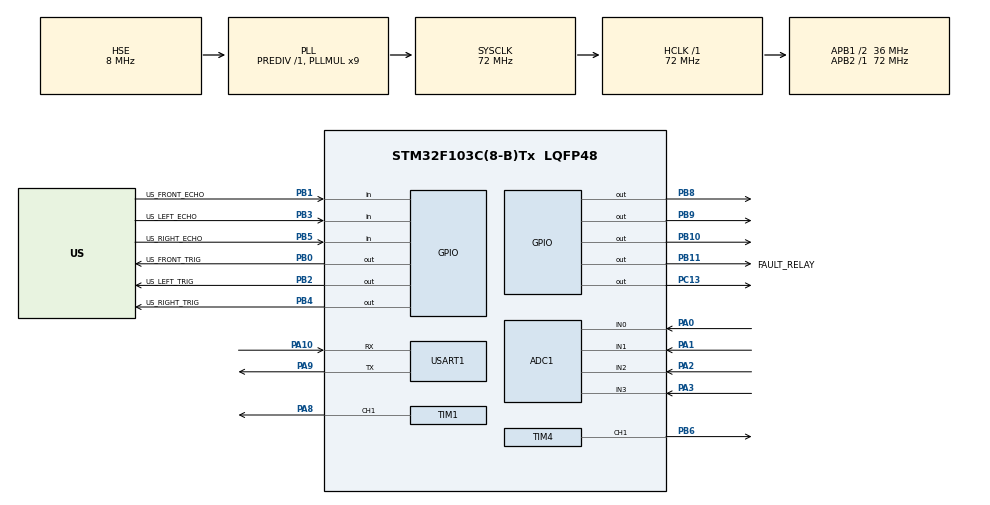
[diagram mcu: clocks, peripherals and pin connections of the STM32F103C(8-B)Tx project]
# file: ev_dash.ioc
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ADC1.Channel-0\#ChannelRegularConversion=ADC_CHANNEL_0
ADC1.ContinuousConvMode=DISABLE
ADC1.NbrOfConversion=1
ADC1.NbrOfConversionFlag=1
ADC1.Rank-0\#ChannelRegularConversion=1
ADC1.SamplingTime-0\#ChannelRegularConversion=ADC_SAMPLETIME_1CYCLE_5
ADC1.master=1
IWDG.Prescaler=IWDG_PRESCALER_32
IWDG.Reload=1250
Mcu.Family=STM32F1
Mcu.Name=STM32F103C(8-B)Tx
Mcu.Package=LQFP48
NVIC.PriorityGroup=NVIC_PRIORITYGROUP_4
NVIC.TIM1_UP_IRQn=true\:0\:0\:false\:false\:true\:true\:true\:true
NVIC.TIM3_IRQn=true\:0\:0\:false\:false\:true\:true\:true\:true
NVIC.USART1_IRQn=true\:0\:0\:false\:false\:true\:true\:true\:true
PA0-WKUP.Signal=ADCx_IN0
PA1.Signal=ADCx_IN1
PA10.Mode=Asynchronous
PA10.Signal=USART1_RX
PA13.Mode=Serial_Wire
PA13.Signal=SYS_JTMS-SWDIO
PA14.Mode=Serial_Wire
PA14.Signal=SYS_JTCK-SWCLK
PA2.Signal=ADCx_IN2
PA3.Signal=ADCx_IN3
PA8.Signal=S_TIM1_CH1
PA9.Mode=Asynchronous
PA9.Signal=USART1_TX
PB0.GPIO_Label=US_FRONT_TRIG
PB0.Signal=GPIO_Output
PB1.GPIO_Label=US_FRONT_ECHO
PB1.Signal=GPIO_Input
PB10.Signal=GPIO_Output
PB11.GPIO_Label=FAULT_RELAY 
PB11.Signal=GPIO_Output
PB2.GPIO_Label=US_LEFT_TRIG
PB2.Signal=GPIO_Output
PB3.GPIO_Label=US_LEFT_ECHO
PB3.Signal=GPIO_Input
PB4.GPIO_Label=US_RIGHT_TRIG
PB4.Signal=GPIO_Output
PB5.GPIO_Label=US_RIGHT_ECHO
PB5.Signal=GPIO_Input
PB6.Signal=S_TIM4_CH1
PB8.Signal=GPIO_Output
PB9.Signal=GPIO_Output
PC13-TAMPER-RTC.Signal=GPIO_Output
PD0-OSC_IN.Mode=HSE-External-Oscillator
PD0-OSC_IN.Signal=RCC_OSC_IN
PD1-OSC_OUT.Mode=HSE-External-Oscillator
PD1-OSC_OUT.Signal=RCC_OSC_OUT
ProjectManager.HeapSize=0x200
ProjectManager.StackSize=0x400
ProjectManager.TargetToolchain=STM32CubeIDE
RCC.ADCPresc=RCC_ADCPCLK2_DIV6
RCC.AHBFreq_Value=72000000
RCC.APB1CLKDivider=RCC_HCLK_DIV2
RCC.APB1Freq_Value=36000000
RCC.APB1TimFreq_Value=72000000
RCC.APB2Freq_Value=72000000
RCC.APB2TimFreq_Value=72000000
RCC.HCLKFreq_Value=72000000
RCC.PLLMUL=RCC_PLL_MUL9
RCC.PLLSourceVirtual=RCC_PLLSOURCE_HSE
RCC.SYSCLKFreq_VALUE=72000000
RCC.SYSCLKSource=RCC_SYSCLKSOURCE_PLLCLK
RCC.USBFreq_Value=72000000
SH.ADCx_IN0.0=ADC1_IN0,IN0
SH.ADCx_IN1.0=ADC1_IN1,IN1
SH.ADCx_IN2.0=ADC1_IN2,IN2
SH.ADCx_IN3.0=ADC1_IN3,IN3
SH.S_TIM1_CH1.0=TIM1_CH1,PWM Generation1 CH1
SH.S_TIM4_CH1.0=TIM4_CH1,PWM Generation1 CH1
TIM1.Channel-PWM\ Generation1\ CH1=TIM_CHANNEL_1
TIM1.Period=9999
TIM1.Prescaler=71
TIM2.Prescaler=71
TIM3.Period=999
TIM3.Prescaler=7199
TIM4.Channel-PWM\ Generation1\ CH1=TIM_CHANNEL_1
USART1.VirtualMode=VM_ASYNC
VP_IWDG_VS_IWDG.Mode=IWDG_Activate
VP_TIM1_VS_ClockSourceINT.Mode=Internal
VP_TIM2_VS_ClockSourceINT.Mode=Internal
VP_TIM3_VS_ClockSourceINT.Mode=Internal
VP_TIM4_VS_ClockSourceINT.Mode=Internal
board=custom

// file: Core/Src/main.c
/* USER CODE BEGIN Header */
/**
  ******************************************************************************
  * @file           : main.c
  * @brief          : Main program body
  ******************************************************************************
  * @attention
  *
  * Copyright (c) 2026 STMicroelectronics.
  * All rights reserved.
  *
  * This software is licensed under terms that can be found in the LICENSE file
  * in the root directory of this software component.
  * If no LICENSE file comes with this software, it is provided AS-IS.
  *
  ******************************************************************************
  */
/* USER CODE END Header */
#include "main.h"

/* USER CODE BEGIN Includes */
#include <stdio.h>
#include <string.h>
#include "common.h"
#include "ev_control.h"
#include "adas.h"
#include "fault.h"
#include "buzzer.h"
#include "ultrasonic.h"
#include "uart_shell.h"
/* telemetry.h intentionally NOT included here anymore — see note in the
   100ms tick block below for why the binary CRC16 protocol was removed
   from main.c's send loop. telemetry.c/h are left in the project untouched
   in case a binary stream is wanted again later (e.g. once the Python
   dashboard is built and you switch off the ASCII protocol). */
/* USER CODE END Includes */

ADC_HandleTypeDef hadc1;

IWDG_HandleTypeDef hiwdg;

TIM_HandleTypeDef htim1;
TIM_HandleTypeDef htim2;
TIM_HandleTypeDef htim3;
TIM_HandleTypeDef htim4;

UART_HandleTypeDef huart1;

/* USER CODE BEGIN PV */

/* ── Module instances ─────────────────────────────────────────────────── */
static EV_HandleTypeDef    ev;
static ADAS_HandleTypeDef  adas;
static Fault_HandleTypeDef flt;

/* ── Scheduler flags — set in HAL_TIM_PeriodElapsedCallback (TIM3, 100ms) */
static volatile uint8_t flag_100ms = 0;

/* ── Tick counters for sub-dividing the 100ms base tick ──────────────── */
static uint32_t uptime_ms   = 0;   /* free-running uptime, incremented every 100ms tick by 100 */
static uint8_t  div_ultrasonic = 0;/* ultrasonic read is slow (3 * ~30ms worst case) — every 2 ticks (200ms) */
static uint8_t  div_telemetry  = 0;/* ASCII telemetry send — every 10 ticks (1000ms / 1Hz) */

/* ── USART1 RX single-byte interrupt buffer ──────────────────────────── */
static uint8_t uart_rx_byte;

/* USER CODE END PV */

void SystemClock_Config(void);
static void MX_GPIO_Init(void);
static void MX_ADC1_Init(void);
static void MX_USART1_UART_Init(void);
static void MX_TIM1_Init(void);
static void MX_TIM3_Init(void);
static void MX_TIM2_Init(void);
static void MX_TIM4_Init(void);
static void MX_IWDG_Init(void);

/* USER CODE BEGIN 0 */

/**
  * @brief  TIM period-elapsed callback — shared by all TIMs using HAL_TIM_Base_Start_IT.
  *         Only TIM3 (100ms base tick) is started this way, so no need to check
  *         which timer fired, but we check anyway in case TIM1 (PWM) interrupt
  *         is ever started here too, to avoid silently misfiring our flag.
  */
void HAL_TIM_PeriodElapsedCallback(TIM_HandleTypeDef *htim)
{
    if (htim->Instance == TIM3) {
        flag_100ms = 1;
    }
}

/**
  * @brief  USART1 RX-complete callback — fires once per received byte since
  *         we re-arm HAL_UART_Receive_IT(huart1, &uart_rx_byte, 1) each time.
  *         Feeds the shell's ring buffer; Shell_Process() (called from the
  *         main loop) parses completed lines.
  */
void HAL_UART_RxCpltCallback(UART_HandleTypeDef *huart)
{
    if (huart->Instance == USART1) {
        Shell_PushByte(uart_rx_byte);
        HAL_UART_Receive_IT(&huart1, &uart_rx_byte, 1);   /* re-arm for next byte */
    }
}

/* USER CODE END 0 */

int main(void)
{

  /* MCU Configuration--------------------------------------------------------*/

  /* Reset of all peripherals, Initializes the Flash interface and the Systick. */
  HAL_Init();

  /* Configure the system clock */
  SystemClock_Config();

  /* Initialize all configured peripherals */
  MX_GPIO_Init();
  MX_ADC1_Init();
  MX_USART1_UART_Init();
  MX_TIM1_Init();
  MX_TIM3_Init();
  MX_TIM2_Init();
  MX_TIM4_Init();
  /* MX_IWDG_Init() intentionally NOT called here — CubeMX auto-generates
     this call in the standard peripheral init sequence, but we want the
     watchdog armed AFTER module init (EV/ADAS/Shell/sensors), not before.
     See the real call in USER CODE 2, right before the main loop.
     NOTE: regenerating code via CubeMX will re-insert a call here — if
     that happens, delete it again and keep only the one in USER CODE 2. */
  /* USER CODE BEGIN 2 */

  /* ── Module init ──────────────────────────────────────────────────── */
  EV_Init(&ev);
  ADAS_Init(&adas);
  Fault_Init(&flt);
  Buzzer_Init();
  HCSR04_Init();
  Shell_Init(&huart1, &ev, &adas, &flt);

  /* ── Start free-running timers ────────────────────────────────────── */
  HAL_TIM_Base_Start(&htim2);          /* µs tick for ultrasonic timing, no IRQ needed */
  HAL_TIM_Base_Start_IT(&htim3);       /* 100ms scheduler tick -> flag_100ms           */
  HAL_TIM_PWM_Start(&htim1, TIM_CHANNEL_1);  /* motor PWM output                       */
  /* NOTE: TIM4 PWM (buzzer) is started/stopped on demand by buzzer.c itself,
     not unconditionally here — see Buzzer_SetPattern()/pwm_on()/pwm_off(). */

  /* ── Arm USART1 RX interrupt (shell input) ────────────────────────── */
  HAL_UART_Receive_IT(&huart1, &uart_rx_byte, 1);

  /* ── Start the independent watchdog LAST, right before the main loop.
   *    All init above is fast (<<1s total), so starting it here avoids
   *    any risk of tripping mid-boot. From this point on, the main loop
   *    must call HAL_IWDG_Refresh() at least once every ~1s or the MCU
   *    will reset (see MX_IWDG_Init() for the exact timeout). ─────── */
  MX_IWDG_Init();

  /* USER CODE END 2 */

  /* Infinite loop */
  /* USER CODE BEGIN WHILE */
  while (1)
  {
      /* ── Watchdog refresh — must happen at least once per ~1s or the
       *    MCU resets. Placed first so it's reached on every pass,
       *    including the many fast passes between 100ms ticks. The one
       *    place in this codebase that blocks longer than 1s in a single
       *    call — uart_shell.c's "alarm test" command (~6s total via
       *    HAL_Delay) — refreshes the watchdog itself between delays,
       *    since it doesn't return here until it's done. ─────────── */
      HAL_IWDG_Refresh(&hiwdg);

      /* ── Shell command processing — every loop pass, cheap & non-blocking */
      Shell_Process();

      /* ── Buzzer pattern toggling — must be ticked regularly for
       *    DOUBLE/RAPID patterns to actually beep on/off. Called every
       *    loop pass; buzzer.c's own internal ms accumulator assumes a
       *    ~10ms-ish cadence (see buzzer.h comment) — Shell_Process() +
       *    the rest of this loop body keep us in roughly that range. */
      Buzzer_Tick();

      /* ── 100ms scheduler tick (set by TIM3 ISR) ───────────────────── */
      if (flag_100ms) {
          flag_100ms = 0;
          uptime_ms += 100;

          /* -- EV physics + ADAS + fault check, every 100ms -- */
          EV_ReadADC(&ev);
          EV_Update(&ev, 0.1f);   /* dt = 100ms = 0.1s */

          /* -- Ultrasonic sensors are slow (TRIG/ECHO round trip can take
           *    up to ~30ms each on timeout x3 sensors = up to ~90ms worst
           *    case) — read every 2nd tick (200ms) so a slow read doesn't
           *    starve the 100ms EV/fault loop on the ticks in between. */
          if (++div_ultrasonic >= 2) {
              div_ultrasonic = 0;
              HCSR04_ReadAll();

              adas.front_cm = HCSR04_GetDistance(HCSR04_FRONT);
              adas.left_cm  = HCSR04_GetDistance(HCSR04_LEFT);
              adas.right_cm = HCSR04_GetDistance(HCSR04_RIGHT);
          }

          ADAS_Update(&adas, &ev);

          /* -- Blind-spot shell test override (forces both sides active,
           *    independent of real sensor readings) -- */
          if (Shell_BlindspotOverride()) {
              adas.blindspot_left  = 1;
              adas.blindspot_right = 1;
          }

          Fault_Check(&flt, &ev, &adas);

          /* -- Buzzer pattern driven by ADAS alarm priority --
           *    collision_warn: 0=none 1=warning 2=critical (adas.h)
           *    Critical -> RAPID, Warning -> DOUBLE, blind-spot-only -> SINGLE,
           *    nothing -> OFF. Fault state overrides everything with RAPID. */
          if (flt.active) {
              Buzzer_SetPattern(BUZZER_RAPID);
          } else if (adas.collision_warn == 2) {
              Buzzer_SetPattern(BUZZER_RAPID);
          } else if (adas.collision_warn == 1) {
              Buzzer_SetPattern(BUZZER_DOUBLE);
          } else if (adas.blindspot_left || adas.blindspot_right) {
              Buzzer_SetPattern(BUZZER_SINGLE);
          } else {
              Buzzer_SetPattern(BUZZER_OFF);
          }

          /* -- Telemetry: plain-ASCII EV + ADAS frames at 1Hz (once per
           *    second — every 10th 100ms tick), gated by "stream on/off"
           *    shell command.
           *
           *    FIX (was the cause of garbled VTerm output): this used to
           *    ALSO build and send the binary CRC16 telemetry packets
           *    (TLM_BuildEVMetrics / TLM_BuildAdasAlerts / TLM_BuildVehicleState
           *    from telemetry.c) on the same UART as this ASCII line. Both
           *    streams interleaved on the wire, so VTerm rendered the raw
           *    binary bytes (sync markers, floats, CRC) as garbage text
           *    mixed in with the readable ASCII lines. Sending ONLY ASCII
           *    here fixes it. If a binary protocol is needed later (e.g.
           *    for the Python dashboard), re-add the TLM_Build* calls but
           *    remove this ASCII block first — don't run both at once. --
           */
          if (Shell_StreamEnabled() && (++div_telemetry >= 10)) {
              div_telemetry = 0;

              char line1[100];
              char line2[100];

              /* Line 1 — EV telemetry (matches presentation slide format) */
              int spd  = (int)ev.speed_kmh;
              int spdd = (int)(ev.speed_kmh  * 10.0f) % 10;
              int soc  = (int)ev.soc;
              int socd = (int)(ev.soc        * 10.0f) % 10;
              int trq  = (int)ev.motor_torque;
              int tmp  = (int)ev.motor_temp;
              int tmpd = (int)(ev.motor_temp * 10.0f) % 10;
              int rng  = (int)ev.range_km;
              int acc  = (int)ev.accel_pedal;
              int brk  = (int)ev.brake_pedal;

              snprintf(line1, sizeof(line1),
                  "SPD:%d.%d SOC:%d.%d TRQ:%d TMP:%d.%d RNG:%d ACC:%d BRK:%d STATE:%d\r\n",
                  spd, spdd, soc, socd, trq, tmp, tmpd, rng, acc, brk, (int)ev.state);
              HAL_UART_Transmit(&huart1, (uint8_t*)line1, strlen(line1), 100);

              /* Line 2 — ADAS telemetry (was previously missing entirely —
                 only the binary 0x02 packet carried this data before). */
              int front = (int)adas.front_cm;
              int left  = (int)adas.left_cm;
              int right = (int)adas.right_cm;
              int ttc   = (int)adas.ttc_sec;
              int ttcd  = (int)(adas.ttc_sec * 10.0f) % 10;
              /* BSD encoded as two digits, left then right (e.g. "10" =
                 left active/right clear), matching the slide's BSD:10 example */
              int bsd   = (adas.blindspot_left ? 10 : 0) + (adas.blindspot_right ? 1 : 0);

              snprintf(line2, sizeof(line2),
                  "F:%d L:%d R:%d TTC:%d.%ds COL:%d BSD:%02d ALM:%d FLT:%02X\r\n",
                  front, left, right, ttc, ttcd, adas.collision_warn, bsd,
                  (int)adas.alarm_priority, flt.flags);
              HAL_UART_Transmit(&huart1, (uint8_t*)line2, strlen(line2), 100);
          }
      }
  }
    /* USER CODE END WHILE */

}

void SystemClock_Config(void)
{
  RCC_OscInitTypeDef RCC_OscInitStruct = {0};
  RCC_ClkInitTypeDef RCC_ClkInitStruct = {0};
  RCC_PeriphCLKInitTypeDef PeriphClkInit = {0};

  /** Initializes the RCC Oscillators according to the specified parameters
  * in the RCC_OscInitTypeDef structure.
  */
  RCC_OscInitStruct.OscillatorType = RCC_OSCILLATORTYPE_LSI|RCC_OSCILLATORTYPE_HSE;
  RCC_OscInitStruct.HSEState = RCC_HSE_ON;
  RCC_OscInitStruct.HSEPredivValue = RCC_HSE_PREDIV_DIV1;
  RCC_OscInitStruct.HSIState = RCC_HSI_ON;
  RCC_OscInitStruct.LSIState = RCC_LSI_ON;
  RCC_OscInitStruct.PLL.PLLState = RCC_PLL_ON;
  RCC_OscInitStruct.PLL.PLLSource = RCC_PLLSOURCE_HSE;
  RCC_OscInitStruct.PLL.PLLMUL = RCC_PLL_MUL9;
  if (HAL_RCC_OscConfig(&RCC_OscInitStruct) != HAL_OK)
  {
    Error_Handler();
  }

  /** Initializes the CPU, AHB and APB buses clocks
  */
  RCC_ClkInitStruct.ClockType = RCC_CLOCKTYPE_HCLK|RCC_CLOCKTYPE_SYSCLK
                              |RCC_CLOCKTYPE_PCLK1|RCC_CLOCKTYPE_PCLK2;
  RCC_ClkInitStruct.SYSCLKSource = RCC_SYSCLKSOURCE_PLLCLK;
  RCC_ClkInitStruct.AHBCLKDivider = RCC_SYSCLK_DIV1;
  RCC_ClkInitStruct.APB1CLKDivider = RCC_HCLK_DIV2;
  RCC_ClkInitStruct.APB2CLKDivider = RCC_HCLK_DIV1;

  if (HAL_RCC_ClockConfig(&RCC_ClkInitStruct, FLASH_LATENCY_2) != HAL_OK)
  {
    Error_Handler();
  }
  PeriphClkInit.PeriphClockSelection = RCC_PERIPHCLK_ADC;
  PeriphClkInit.AdcClockSelection = RCC_ADCPCLK2_DIV6;
  if (HAL_RCCEx_PeriphCLKConfig(&PeriphClkInit) != HAL_OK)
  {
    Error_Handler();
  }
}

static void MX_ADC1_Init(void)
{

  ADC_ChannelConfTypeDef sConfig = {0};

  /** Common config
  */
  hadc1.Instance = ADC1;
  hadc1.Init.ScanConvMode = ADC_SCAN_DISABLE;
  hadc1.Init.ContinuousConvMode = DISABLE;
  hadc1.Init.DiscontinuousConvMode = DISABLE;
  hadc1.Init.ExternalTrigConv = ADC_SOFTWARE_START;
  hadc1.Init.DataAlign = ADC_DATAALIGN_RIGHT;
  hadc1.Init.NbrOfConversion = 1;
  if (HAL_ADC_Init(&hadc1) != HAL_OK)
  {
    Error_Handler();
  }

  /** Configure Regular Channel
  */
  sConfig.Channel = ADC_CHANNEL_0;
  sConfig.Rank = ADC_REGULAR_RANK_1;
  sConfig.SamplingTime = ADC_SAMPLETIME_1CYCLE_5;
  if (HAL_ADC_ConfigChannel(&hadc1, &sConfig) != HAL_OK)
  {
    Error_Handler();
  }

}

static void MX_IWDG_Init(void)
{

  hiwdg.Instance = IWDG;
  hiwdg.Init.Prescaler = IWDG_PRESCALER_32;
  hiwdg.Init.Reload = 1250;
  if (HAL_IWDG_Init(&hiwdg) != HAL_OK)
  {
    Error_Handler();
  }

}

static void MX_TIM1_Init(void)
{

  TIM_ClockConfigTypeDef sClockSourceConfig = {0};
  TIM_MasterConfigTypeDef sMasterConfig = {0};
  TIM_OC_InitTypeDef sConfigOC = {0};
  TIM_BreakDeadTimeConfigTypeDef sBreakDeadTimeConfig = {0};

  htim1.Instance = TIM1;
  htim1.Init.Prescaler = 71;
  htim1.Init.CounterMode = TIM_COUNTERMODE_UP;
  htim1.Init.Period = 9999;
  htim1.Init.ClockDivision = TIM_CLOCKDIVISION_DIV1;
  htim1.Init.RepetitionCounter = 0;
  htim1.Init.AutoReloadPreload = TIM_AUTORELOAD_PRELOAD_DISABLE;
  if (HAL_TIM_Base_Init(&htim1) != HAL_OK)
  {
    Error_Handler();
  }
  sClockSourceConfig.ClockSource = TIM_CLOCKSOURCE_INTERNAL;
  if (HAL_TIM_ConfigClockSource(&htim1, &sClockSourceConfig) != HAL_OK)
  {
    Error_Handler();
  }
  if (HAL_TIM_PWM_Init(&htim1) != HAL_OK)
  {
    Error_Handler();
  }
  sMasterConfig.MasterOutputTrigger = TIM_TRGO_RESET;
  sMasterConfig.MasterSlaveMode = TIM_MASTERSLAVEMODE_DISABLE;
  if (HAL_TIMEx_MasterConfigSynchronization(&htim1, &sMasterConfig) != HAL_OK)
  {
    Error_Handler();
  }
  sConfigOC.OCMode = TIM_OCMODE_PWM1;
  sConfigOC.Pulse = 0;
  sConfigOC.OCPolarity = TIM_OCPOLARITY_HIGH;
  sConfigOC.OCNPolarity = TIM_OCNPOLARITY_HIGH;
  sConfigOC.OCFastMode = TIM_OCFAST_DISABLE;
  sConfigOC.OCIdleState = TIM_OCIDLESTATE_RESET;
  sConfigOC.OCNIdleState = TIM_OCNIDLESTATE_RESET;
  if (HAL_TIM_PWM_ConfigChannel(&htim1, &sConfigOC, TIM_CHANNEL_1) != HAL_OK)
  {
    Error_Handler();
  }
  sBreakDeadTimeConfig.OffStateRunMode = TIM_OSSR_DISABLE;
  sBreakDeadTimeConfig.OffStateIDLEMode = TIM_OSSI_DISABLE;
  sBreakDeadTimeConfig.LockLevel = TIM_LOCKLEVEL_OFF;
  sBreakDeadTimeConfig.DeadTime = 0;
  sBreakDeadTimeConfig.BreakState = TIM_BREAK_DISABLE;
  sBreakDeadTimeConfig.BreakPolarity = TIM_BREAKPOLARITY_HIGH;
  sBreakDeadTimeConfig.AutomaticOutput = TIM_AUTOMATICOUTPUT_DISABLE;
  if (HAL_TIMEx_ConfigBreakDeadTime(&htim1, &sBreakDeadTimeConfig) != HAL_OK)
  {
    Error_Handler();
  }
  HAL_TIM_MspPostInit(&htim1);

}

static void MX_TIM2_Init(void)
{

  TIM_ClockConfigTypeDef sClockSourceConfig = {0};
  TIM_MasterConfigTypeDef sMasterConfig = {0};

  htim2.Instance = TIM2;
  htim2.Init.Prescaler = 71;
  htim2.Init.CounterMode = TIM_COUNTERMODE_UP;
  htim2.Init.Period = 65535;
  htim2.Init.ClockDivision = TIM_CLOCKDIVISION_DIV1;
  htim2.Init.AutoReloadPreload = TIM_AUTORELOAD_PRELOAD_DISABLE;
  if (HAL_TIM_Base_Init(&htim2) != HAL_OK)
  {
    Error_Handler();
  }
  sClockSourceConfig.ClockSource = TIM_CLOCKSOURCE_INTERNAL;
  if (HAL_TIM_ConfigClockSource(&htim2, &sClockSourceConfig) != HAL_OK)
  {
    Error_Handler();
  }
  sMasterConfig.MasterOutputTrigger = TIM_TRGO_RESET;
  sMasterConfig.MasterSlaveMode = TIM_MASTERSLAVEMODE_DISABLE;
  if (HAL_TIMEx_MasterConfigSynchronization(&htim2, &sMasterConfig) != HAL_OK)
  {
    Error_Handler();
  }

}

static void MX_TIM3_Init(void)
{

  TIM_ClockConfigTypeDef sClockSourceConfig = {0};
  TIM_MasterConfigTypeDef sMasterConfig = {0};

  htim3.Instance = TIM3;
  htim3.Init.Prescaler = 7199;
  htim3.Init.CounterMode = TIM_COUNTERMODE_UP;
  htim3.Init.Period = 999;
  htim3.Init.ClockDivision = TIM_CLOCKDIVISION_DIV1;
  htim3.Init.AutoReloadPreload = TIM_AUTORELOAD_PRELOAD_DISABLE;
  if (HAL_TIM_Base_Init(&htim3) != HAL_OK)
  {
    Error_Handler();
  }
  sClockSourceConfig.ClockSource = TIM_CLOCKSOURCE_INTERNAL;
  if (HAL_TIM_ConfigClockSource(&htim3, &sClockSourceConfig) != HAL_OK)
  {
    Error_Handler();
  }
  sMasterConfig.MasterOutputTrigger = TIM_TRGO_RESET;
  sMasterConfig.MasterSlaveMode = TIM_MASTERSLAVEMODE_DISABLE;
  if (HAL_TIMEx_MasterConfigSynchronization(&htim3, &sMasterConfig) != HAL_OK)
  {
    Error_Handler();
  }

}

static void MX_TIM4_Init(void)
{

  TIM_ClockConfigTypeDef sClockSourceConfig = {0};
  TIM_MasterConfigTypeDef sMasterConfig = {0};
  TIM_OC_InitTypeDef sConfigOC = {0};

  htim4.Instance = TIM4;
  htim4.Init.Prescaler = 0;
  htim4.Init.CounterMode = TIM_COUNTERMODE_UP;
  htim4.Init.Period = 65535;
  htim4.Init.ClockDivision = TIM_CLOCKDIVISION_DIV1;
  htim4.Init.AutoReloadPreload = TIM_AUTORELOAD_PRELOAD_DISABLE;
  if (HAL_TIM_Base_Init(&htim4) != HAL_OK)
  {
    Error_Handler();
  }
  sClockSourceConfig.ClockSource = TIM_CLOCKSOURCE_INTERNAL;
  if (HAL_TIM_ConfigClockSource(&htim4, &sClockSourceConfig) != HAL_OK)
  {
    Error_Handler();
  }
  if (HAL_TIM_PWM_Init(&htim4) != HAL_OK)
  {
    Error_Handler();
  }
  sMasterConfig.MasterOutputTrigger = TIM_TRGO_RESET;
  sMasterConfig.MasterSlaveMode = TIM_MASTERSLAVEMODE_DISABLE;
  if (HAL_TIMEx_MasterConfigSynchronization(&htim4, &sMasterConfig) != HAL_OK)
  {
    Error_Handler();
  }
  sConfigOC.OCMode = TIM_OCMODE_PWM1;
  sConfigOC.Pulse = 0;
  sConfigOC.OCPolarity = TIM_OCPOLARITY_HIGH;
  sConfigOC.OCFastMode = TIM_OCFAST_DISABLE;
  if (HAL_TIM_PWM_ConfigChannel(&htim4, &sConfigOC, TIM_CHANNEL_1) != HAL_OK)
  {
    Error_Handler();
  }
  HAL_TIM_MspPostInit(&htim4);

}

static void MX_USART1_UART_Init(void)
{

  huart1.Instance = USART1;
  huart1.Init.BaudRate = 115200;
  huart1.Init.WordLength = UART_WORDLENGTH_8B;
  huart1.Init.StopBits = UART_STOPBITS_1;
  huart1.Init.Parity = UART_PARITY_NONE;
  huart1.Init.Mode = UART_MODE_TX_RX;
  huart1.Init.HwFlowCtl = UART_HWCONTROL_NONE;
  huart1.Init.OverSampling = UART_OVERSAMPLING_16;
  if (HAL_UART_Init(&huart1) != HAL_OK)
  {
    Error_Handler();
  }

}

static void MX_GPIO_Init(void)
{
  GPIO_InitTypeDef GPIO_InitStruct = {0};

  /* GPIO Ports Clock Enable */
  __HAL_RCC_GPIOC_CLK_ENABLE();
  __HAL_RCC_GPIOD_CLK_ENABLE();
  __HAL_RCC_GPIOA_CLK_ENABLE();
  __HAL_RCC_GPIOB_CLK_ENABLE();

  /*Configure GPIO pin Output Level */
  HAL_GPIO_WritePin(GPIOC, GPIO_PIN_13, GPIO_PIN_RESET);

  /*Configure GPIO pin Output Level */
  HAL_GPIO_WritePin(GPIOB, US_FRONT_TRIG_Pin|US_LEFT_TRIG_Pin|GPIO_PIN_10|FAULT_RELAY_Pin
                          |US_RIGHT_TRIG_Pin|GPIO_PIN_8|GPIO_PIN_9, GPIO_PIN_RESET);

  /*Configure GPIO pin : PC13 */
  GPIO_InitStruct.Pin = GPIO_PIN_13;
  GPIO_InitStruct.Mode = GPIO_MODE_OUTPUT_PP;
  GPIO_InitStruct.Pull = GPIO_NOPULL;
  GPIO_InitStruct.Speed = GPIO_SPEED_FREQ_LOW;
  HAL_GPIO_Init(GPIOC, &GPIO_InitStruct);

  /*Configure GPIO pins : US_FRONT_TRIG_Pin US_LEFT_TRIG_Pin PB10 FAULT_RELAY_Pin
                           US_RIGHT_TRIG_Pin PB8 PB9 */
  GPIO_InitStruct.Pin = US_FRONT_TRIG_Pin|US_LEFT_TRIG_Pin|GPIO_PIN_10|FAULT_RELAY_Pin
                          |US_RIGHT_TRIG_Pin|GPIO_PIN_8|GPIO_PIN_9;
  GPIO_InitStruct.Mode = GPIO_MODE_OUTPUT_PP;
  GPIO_InitStruct.Pull = GPIO_NOPULL;
  GPIO_InitStruct.Speed = GPIO_SPEED_FREQ_LOW;
  HAL_GPIO_Init(GPIOB, &GPIO_InitStruct);

  /*Configure GPIO pins : US_FRONT_ECHO_Pin US_LEFT_ECHO_Pin US_RIGHT_ECHO_Pin */
  GPIO_InitStruct.Pin = US_FRONT_ECHO_Pin|US_LEFT_ECHO_Pin|US_RIGHT_ECHO_Pin;
  GPIO_InitStruct.Mode = GPIO_MODE_INPUT;
  GPIO_InitStruct.Pull = GPIO_NOPULL;
  HAL_GPIO_Init(GPIOB, &GPIO_InitStruct);

}

void Error_Handler(void)
{
  __disable_irq();
  while (1)
  {
  }
}
